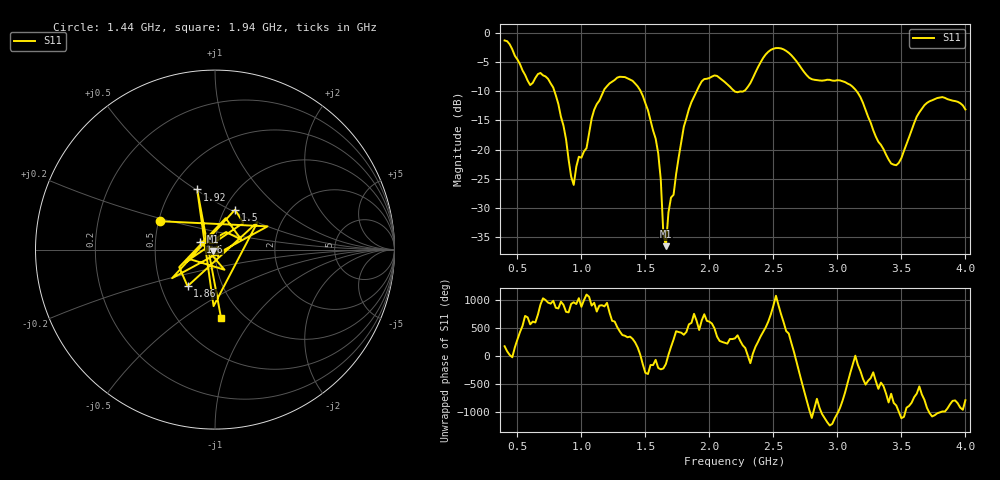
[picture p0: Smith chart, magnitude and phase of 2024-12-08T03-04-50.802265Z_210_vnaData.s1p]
!Created with skrf (http://scikit-rf.org).
# Hz S RI R 50.0
!freq ReS11 ImS11
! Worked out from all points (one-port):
!   181 points, 400 MHz to 4 GHz, reference 50 ohm
!   lowest |S11| = -36.5 dB at 1.66 GHz (marker M1), VSWR 1.03, Z = 48.9 - j0.94 ohm
!   |S11| at or under -10 dB: 789.1 MHz to 1.174 GHz (384.4 MHz wide, 39.2 % of centre); 1.462 GHz to 1.901 GHz (438.4 MHz wide, 26.1 % of centre); 3.149 GHz to end of sweep (the widest 3 of 4)
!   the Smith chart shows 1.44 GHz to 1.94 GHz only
!   S11 on the Smith chart (normalised r, x): 1.44 GHz: 0.51, +0.18; 1.5 GHz: 1.12, +0.53; 1.6 GHz: 0.85, +0.08; 1.86 GHz: 0.68, -0.30; 1.92 GHz: 0.66, +0.51; 1.94 GHz: 0.79, -0.71
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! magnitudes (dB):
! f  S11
! 400 MHz  -1.3
! 600 MHz  -9.0
! 740 MHz  -7.9
! 860 MHz  -15.9
! 940 MHz  -26.0
! 1.1 GHz  -13.2
! 1.3 GHz  -7.6
! 1.44 GHz  -9.2
! 1.5 GHz  -12.1
! 1.6 GHz  -20.6
! 1.62 GHz  -25.1
! 1.64 GHz  -34.3
! 1.66 GHz  -36.5
! 1.68 GHz  -30.8
! 1.76 GHz  -21.3
! 1.86 GHz  -11.9
! 1.92 GHz  -9.1
! 1.94 GHz  -8.3
! 2.2 GHz  -10.1
! 2.48 GHz  -2.9
! 2.66 GHz  -4.4
! 2.8 GHz  -8.0
! 3.1 GHz  -8.9
! 3.42 GHz  -22.4
! 3.48 GHz  -22.3
! 3.56 GHz  -17.9
! 3.72 GHz  -11.7
! 4 GHz  -13.1
